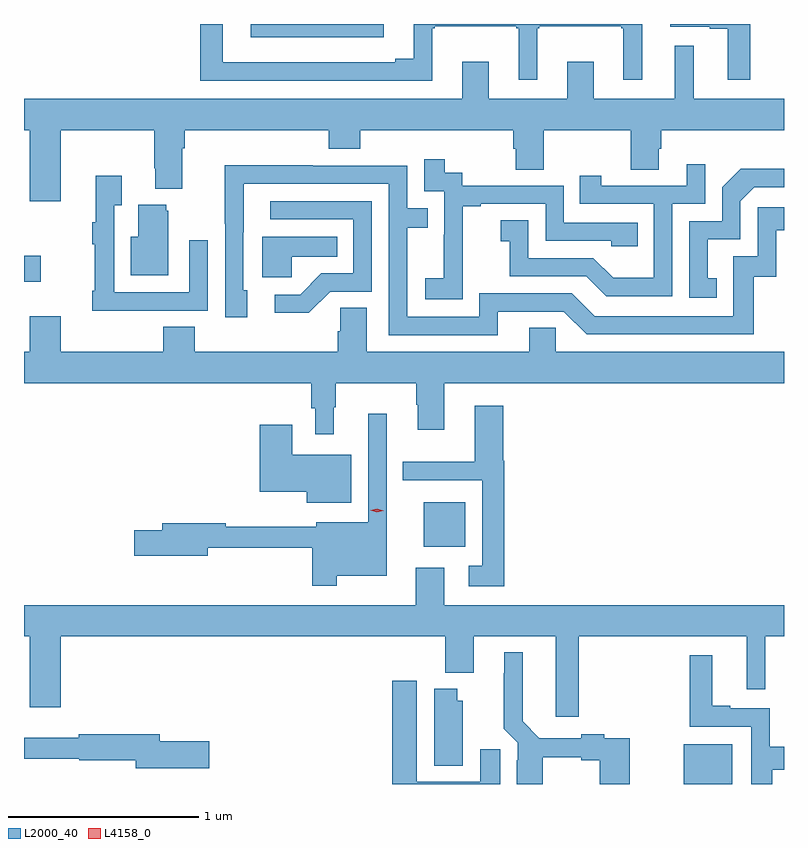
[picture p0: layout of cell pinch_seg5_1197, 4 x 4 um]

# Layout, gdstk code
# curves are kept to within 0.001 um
import gdstk
lib = gdstk.Library(unit=1e-6, precision=1e-09)
def R(c, l, rs):  # rectangles x0, y0, x1, y1
    for r in rs: c.add(gdstk.rectangle(r[:2], r[2:], *l))
def P(c, l, *ps):  # polygons
    for p in ps: c.add(gdstk.Polygon(p, *l))
L2000_40 = (2000, 40)
L4158_0 = (4158, 0)

pinch_seg5_1197 = lib.new_cell('pinch_seg5_1197')
R(pinch_seg5_1197, L2000_40, [(492.128,883.954,492.382,884.164), (490.76,885.203,490.978,885.436), (488.655,886.598,488.743,886.733), (489.849,887.885,490.549,887.954)])
P(pinch_seg5_1197, L2000_40, [(492.478,887.954),(492.056,887.954),(492.056,887.94),(492.263,887.94),(492.263,887.928),(492.359,887.928),(492.359,887.661),(492.478,887.661)],
  [(490.804,887.931),(490.816,887.931),(490.816,887.942),(491.247,887.942),(491.247,887.931),(491.258,887.931),(491.258,887.661),(491.356,887.661),(491.356,887.931),(491.368,887.931),(491.368,887.942),(491.799,887.942),(491.799,887.931),(491.81,887.931),(491.81,887.661),(491.908,887.661),(491.908,887.954),(490.706,887.954),(490.706,887.771),(490.61,887.771),(490.61,887.752),(489.7,887.752),(489.7,887.954),(489.583,887.954),(489.583,887.655),(490.804,887.655)],
  [(488.848,887.396),(489.34,887.396),(489.34,887.194),(489.347,887.194),(489.347,887.087),(489.487,887.087),(489.487,887.3),(489.5,887.3),(489.5,887.396),(490.259,887.396),(490.259,887.297),(490.424,887.297),(490.424,887.396),(491.231,887.396),(491.231,887.298),(491.243,887.298),(491.243,887.188),(491.391,887.188),(491.391,887.396),(491.848,887.396),(491.848,887.188),(491.995,887.188),(491.995,887.298),(492.008,887.298),(492.008,887.396),(492.655,887.396),(492.655,887.56),(492.179,887.56),(492.179,887.839),(492.08,887.839),(492.08,887.56),(491.653,887.56),(491.653,887.755),(491.513,887.755),(491.513,887.56),(491.101,887.56),(491.101,887.755),(490.961,887.755),(490.961,887.56),(488.655,887.56),(488.655,887.396),(488.684,887.396),(488.684,887.022),(488.848,887.022)],
  [(490.965,886.711),(490.964,886.711),(490.964,886.995),(491.059,886.995),(491.059,887.007),(491.4,887.007),(491.4,886.812),(491.745,886.812),(491.745,886.785),(491.885,886.785),(491.885,886.908),(491.496,886.908),(491.496,887.103),(490.962,887.103),(490.962,887.172),(490.87,887.172),(490.87,887.242),(490.761,887.242),(490.761,887.073),(490.866,887.073),(490.866,886.844),(490.865,886.844),(490.865,886.615),(490.767,886.615),(490.767,886.505),(490.965,886.505)],
  [(492.066,887.007),(492.24,887.007),(492.24,887.215),(492.143,887.215),(492.143,887.103),(491.692,887.103),(491.692,887.155),(491.581,887.155),(491.581,887.007),(491.97,887.007),(491.97,886.618),(491.756,886.618),(491.652,886.722),(491.31,886.722),(491.31,886.921),(491.163,886.921),(491.163,886.811),(491.212,886.811),(491.212,886.626),(491.615,886.626),(491.72,886.521),(492.066,886.521)],
  [(491.149,886.44),(491.496,886.44),(491.616,886.32),(492.496,886.32),(492.496,886.623),(492.614,886.623),(492.614,886.869),(492.655,886.869),(492.655,886.99),(492.516,886.99),(492.516,886.731),(492.387,886.731),(492.387,886.416),(491.658,886.416),(491.538,886.536),(491.052,886.536),(491.052,886.413),(490.671,886.413),(490.671,886.882),(490.781,886.882),(490.781,886.983),(490.671,886.983),(490.671,887.208),(490.175,887.208),(490.175,887.21),(489.712,887.21),(489.712,886.903),(489.714,886.903),(489.714,886.41),(489.829,886.41),(489.829,886.554),(489.81,886.554),(489.811,887.112),(490.575,887.112),(490.575,886.317),(491.149,886.317)],
  [(492.302,886.617),(492.253,886.617),(492.253,886.821),(492.426,886.821),(492.426,887.022),(492.498,887.094),(492.655,887.094),(492.655,887.192),(492.428,887.192),(492.33,887.094),(492.33,886.917),(492.156,886.917),(492.156,886.512),(492.302,886.512)],
  [(489.305,886.446),(489.621,886.446),(489.621,886.816),(489.525,886.816),(489.525,886.542),(489.129,886.542),(489.129,886.999),(489.169,886.999),(489.169,887.155),(489.032,887.155),(489.032,886.91),(489.013,886.91),(489.013,886.796),(489.028,886.796),(489.028,886.549),(489.013,886.549),(489.013,886.445),(489.305,886.445)],
  [(490.266,886.545),(490.485,886.545),(490.485,887.022),(489.951,887.022),(489.951,886.926),(490.389,886.926),(490.389,886.641),(490.22,886.641),(490.109,886.53),(489.975,886.53),(489.975,886.433),(490.153,886.433)],
  [(489.415,886.971),(489.404,886.971),(489.404,887.002),(489.257,887.002),(489.257,886.834),(489.218,886.834),(489.218,886.631),(489.415,886.631)],
  [(490.065,886.73),(490.304,886.73),(490.304,886.834),(489.908,886.834),(489.908,886.622),(490.065,886.622)],
  [(490.286,885.938),(490.297,885.938),(490.297,886.064),(490.72,886.064),(490.72,885.95),(490.727,885.95),(490.727,885.819),(490.867,885.819),(490.867,886.064),(492.655,886.064),(492.655,886.228),(491.454,886.228),(491.454,886.355),(491.315,886.355),(491.315,886.228),(490.459,886.228),(490.459,886.46),(490.32,886.46),(490.32,886.337),(490.307,886.337),(490.307,886.228),(489.554,886.228),(489.554,886.361),(489.389,886.361),(489.389,886.228),(488.848,886.228),(488.848,886.417),(488.684,886.417),(488.684,886.228),(488.655,886.228),(488.655,886.064),(490.168,886.064),(490.168,885.931),(490.188,885.931),(490.188,885.795),(490.286,885.795)],
  [(491.183,885.655),(491.177,885.655),(491.177,885.946),(491.027,885.946),(491.027,885.649),(490.648,885.649),(490.648,885.552),(491.067,885.552),(491.067,885.103),(490.995,885.103),(490.995,884.994),(491.183,884.994)],
  [(490.3,885.05),(490.565,885.05),(490.565,885.427),(490.563,885.427),(490.563,885.904),(490.467,885.904),(490.467,885.331),(490.194,885.331),(490.194,885.308),(489.718,885.308),(489.718,885.326),(489.383,885.326),(489.383,885.29),(489.234,885.29),(489.234,885.155),(489.622,885.155),(489.622,885.198),(490.171,885.198),(490.171,884.997),(490.3,884.997)],
  [(490.378,885.688),(490.066,885.688),(490.066,885.844),(489.896,885.844),(489.896,885.491),(490.142,885.491),(490.142,885.434),(490.378,885.434)],
  [(491.576,884.732),(492.458,884.732),(492.458,884.454),(492.556,884.454),(492.556,884.732),(492.655,884.732),(492.655,884.896),(490.867,884.896),(490.867,885.091),(490.718,885.091),(490.718,884.896),(488.655,884.896),(488.655,884.732),(488.684,884.732),(488.684,884.358),(488.848,884.358),(488.848,884.732),(490.871,884.732),(490.871,884.54),(491.023,884.54),(491.023,884.732),(491.453,884.732),(491.453,884.307),(491.576,884.307)],
  [(491.386,884.095),(491.588,884.095),(491.588,884.08),(491.684,884.08),(491.684,883.954),(491.842,883.954),(491.842,884.196),(491.708,884.196),(491.708,884.216),(491.588,884.216),(491.588,884.196),(491.368,884.196),(491.281,884.284),(491.281,884.647),(491.183,884.647),(491.183,884.537),(491.179,884.537),(491.179,884.246),(491.253,884.172),(491.253,884.078),(491.249,884.078),(491.249,883.954),(491.386,883.954)],
  [(492.592,884.029),(492.655,884.029),(492.655,884.15),(492.58,884.15),(492.58,884.352),(492.373,884.352),(492.373,884.365),(492.277,884.365),(492.277,884.632),(492.159,884.632),(492.159,884.256),(492.483,884.256),(492.483,883.954),(492.592,883.954)],
  [(491.161,884.137),(491.057,884.137),(491.057,883.965),(490.723,883.965),(490.723,884.497),(490.592,884.497),(490.592,883.954),(491.161,883.954)],
  [(490.963,884.391),(490.936,884.391),(490.936,884.455),(490.814,884.455),(490.814,884.05),(490.963,884.05)],
  [(489.631,884.18),(489.37,884.18),(489.37,884.216),(488.944,884.216),(488.944,884.197),(488.655,884.197),(488.655,884.088),(488.946,884.088),(488.946,884.08),(489.242,884.08),(489.242,884.038),(489.631,884.038)])
P(pinch_seg5_1197, L4158_0, [(490.512,885.383),(490.477,885.395),(490.476,885.395),(490.477,885.395),(490.513,885.403),(490.548,885.392),(490.548,885.392),(490.548,885.392)])

lib.write_gds('pinch_seg5_1197.gds')
